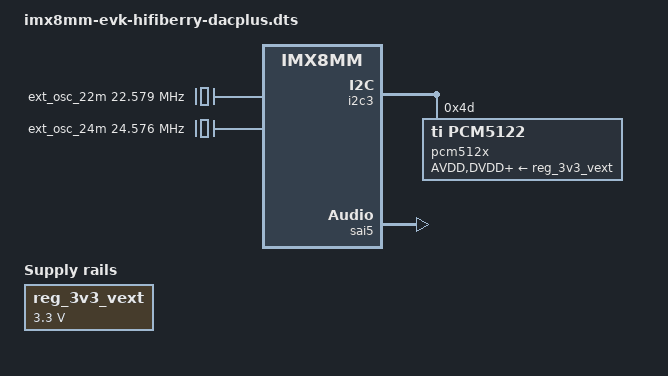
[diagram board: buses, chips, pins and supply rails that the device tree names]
// SPDX-License-Identifier: (GPL-2.0+ OR MIT)
/*
 * Copyright 2020 NXP.
 */

#include "imx8mm-evk.dts"

/ {
	ext_osc_22m: ext-osc-22m {
		compatible = "fixed-clock";
		#clock-cells = <0>;
		clock-frequency = <22579200>;
		clock-output-names = "sclk0";
	};

	ext_osc_24m: ext-osc-24m {
		compatible = "fixed-clock";
		#clock-cells = <0>;
		clock-frequency = <24576000>;
		clock-output-names = "sclk1";
	};

	reg_3v3_vext: regulator-3v3-vext {
		compatible = "regulator-fixed";
		regulator-name = "3V3_VEXT";
		regulator-min-microvolt = <3300000>;
		regulator-max-microvolt = <3300000>;
	};

	sound-ak4458 {
		status = "disabled";
	};

	sound-micfil {
		status = "disabled";
	};

	sound-pcm512x {
		compatible = "fsl,imx-audio-pcm512x";
		model = "pcm512x-audio";
		audio-widgets =
			"Line", "Left Line Out Jack",
			"Line", "Right Line Out Jack";
		audio-routing =
			"Left Line Out Jack", "OUTL",
			"Right Line Out Jack", "OUTR";
		dac,24db_digital_gain;
		dac,led_status;
		dac,sclk;

		pri-dai-link {
			link-name = "pcm512x-hifi";
			format = "i2s";
			bitclock-master = <&sndcodec>;
			frame-master = <&sndcodec>;
			cpu {
				sound-dai = <&sai5>;
			};
			sndcodec: codec {
				sound-dai = <&pcm512x>;
			};
		};
	};
};

&i2c3 {
	ak4458_1: ak4458@10 {
		status = "disabled";
	};

	ak4458_2: ak4458@12 {
		status = "disabled";
	};

	ak5558: ak5558@13 {
		status = "disabled";
	};

	ak4497: ak4497@11 {
		status = "disabled";
	};

	pcm512x: pcm512x@4d {
		compatible = "ti,pcm5122";
		reg = <0x4d>;
		AVDD-supply = <&reg_3v3_vext>;
		DVDD-supply = <&reg_3v3_vext>;
		CPVDD-supply = <&reg_3v3_vext>;
		clocks = <&ext_osc_22m>, <&ext_osc_24m>;
		clock-names = "sclk0", "sclk1";
		#sound-dai-cells = <0>;
	};
};

&iomuxc {
	pinctrl_sai5: sai5grp {
		fsl,pins = <
			MX8MM_IOMUXC_SAI5_RXD1_SAI5_TX_SYNC	0xd6
			MX8MM_IOMUXC_SAI5_RXD2_SAI5_TX_BCLK	0xd6
			MX8MM_IOMUXC_SAI5_RXD3_SAI5_TX_DATA0	0xd6
			MX8MM_IOMUXC_SAI5_RXD0_SAI5_RX_DATA0	0xd6
		>;
	};
};

&micfil {
	status = "disabled";
};

&sai5 {
	#sound-dai-cells = <0>;
	/delete-property/ fsl,sai-asynchronous;
	/delete-property/ fsl,sai-multi-lane;
	dmas = <&sdma2 8 2 0>, <&sdma2 9 2 0>;
	assigned-clock-rates = <24576000>;
	status = "okay";
};
